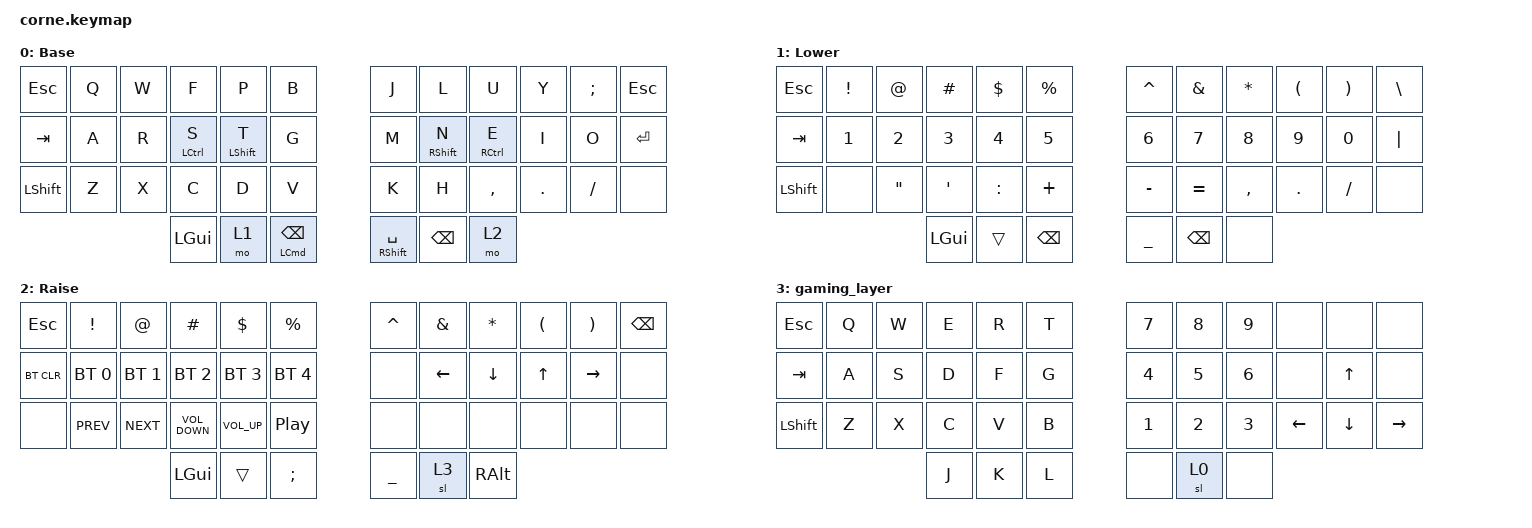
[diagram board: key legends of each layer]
/*
 * Copyright (c) 2020 The ZMK Contributors
 *
 * SPDX-License-Identifier: MIT
 */

#include <behaviors.dtsi>
#include <dt-bindings/zmk/bt.h>
#include <dt-bindings/zmk/keys.h>

&mt { flavor = "tap-preferred"; };

/ {
    combos {
        compatible = "zmk,combos";

        rp {
            bindings = <&kp RIGHT_PARENTHESIS>;
            key-positions = <19 31>;
        };

        lp {
            bindings = <&kp LEFT_PARENTHESIS>;
            key-positions = <16 28>;
        };

        lb {
            bindings = <&kp LEFT_BRACKET>;
            key-positions = <17 29>;
        };

        rb {
            bindings = <&kp RIGHT_BRACKET>;
            key-positions = <18 30>;
        };

        undo {
            bindings = <&kp LC(Z)>;
            key-positions = <25 26>;
        };

        cut {
            bindings = <&kp LC(X)>;
            key-positions = <25 27>;
        };

        copy {
            bindings = <&kp LC(C)>;
            key-positions = <25 28>;
        };

        paste {
            bindings = <&kp LC(V)>;
            key-positions = <25 29>;
        };

        enter {
            bindings = <&kp ENTER>;
            key-positions = <19 20 21>;
        };

        left_reset {
            bindings = <&sys_reset>;
            key-positions = <0 1 36>;
        };

        right_reset {
            bindings = <&sys_reset>;
            key-positions = <11 10 41>;
        };

        left_curly_brace {
            bindings = <&kp LBRC>;
            key-positions = <15 27>;
        };

        right_curly_brace {
            bindings = <&kp RIGHT_BRACE>;
            key-positions = <20 32>;
        };
    };

    keymap {
        compatible = "zmk,keymap";

        default_layer {
            // -----------------------------------------------------------------------------------------
            // |  TAB |  Q  |  W  |  E  |  R  |  T  |   |  Y  |  U   |  I  |  O  |  P  | BKSP |
            // | CTRL |  A  |  S  |  D  |  F  |  G  |   |  H  |  J   |  K  |  L  |  ;  |  '   |
            // | SHFT |  Z  |  X  |  C  |  V  |  B  |   |  N  |  M   |  ,  |  .  |  /  | ESC  |
            //                    | GUI | LWR | SPC |   | ENT | RSE  | ALT |

            display-name = "Base";
            bindings = <
&kp ESCAPE  &kp Q  &kp W  &kp F               &kp P             &kp B                         &kp J                  &kp L              &kp U                &kp Y    &kp SEMICOLON  &kp ESCAPE
&kp TAB     &kp A  &kp R  &mt LEFT_CONTROL S  &mt LEFT_SHIFT T  &kp G                         &kp M                  &mt RIGHT_SHIFT N  &mt RIGHT_CONTROL E  &kp I    &kp O          &kp RET
&kp LSHFT   &kp Z  &kp X  &kp C               &kp D             &kp V                         &kp K                  &kp H              &kp COMMA            &kp DOT  &kp FSLH       &none
                          &kp LGUI            &mo 1             &mt LEFT_COMMAND BACKSPACE    &mt RIGHT_SHIFT SPACE  &kp BACKSPACE      &mo 2
            >;
        };

        lower_layer {
            // -----------------------------------------------------------------------------------------
            // |  TAB |  1  |  2  |  3  |  4  |  5  |   |  6  |  7  |  8  |  9  |  0  | BKSP |
            // | BTCLR| BT1 | BT2 | BT3 | BT4 | BT5 |   | LFT | DWN |  UP | RGT |     |      |
            // | SHFT |     |     |     |     |     |   |     |     |     |     |     |      |
            //                    | GUI |     | SPC |   | ENT |     | ALT |

            display-name = "Lower";
            bindings = <
&kp ESCAPE      &kp EXCL      &kp AT             &kp HASH      &kp DOLLAR    &kp PERCENT      &kp CARET     &kp AMPS       &kp ASTRK  &kp LEFT_PARENTHESIS  &kp RIGHT_PARENTHESIS  &kp BACKSLASH
&kp TAB         &kp NUMBER_1  &kp NUMBER_2       &kp NUMBER_3  &kp NUMBER_4  &kp N5           &kp NUMBER_6  &kp N7         &kp N8     &kp N9                &kp N0                 &kp PIPE
&kp LEFT_SHIFT  &none         &kp DOUBLE_QUOTES  &kp APOS      &kp COLON     &kp PLUS         &kp MINUS     &kp EQUAL      &kp COMMA  &kp PERIOD            &kp SLASH              &none
                                                 &kp LGUI      &trans        &kp BACKSPACE    &kp UNDER     &kp BACKSPACE  &none
            >;
        };

        upper_layer {
            display-name = "Raise";
            bindings = <
&kp ESCAPE  &kp EXCL      &kp AT        &kp POUND          &kp DOLLAR       &kp PERCENT         &kp CARET       &kp AMPS  &kp ASTRK  &kp LEFT_PARENTHESIS  &kp RIGHT_PARENTHESIS  &kp BSPC
&bt BT_CLR  &bt BT_SEL 0  &bt BT_SEL 1  &bt BT_SEL 2       &bt BT_SEL 3     &bt BT_SEL 4        &none           &kp LEFT  &kp DOWN   &kp UP_ARROW          &kp RIGHT              &none
&none       &kp K_PREV    &kp C_NEXT    &kp C_VOLUME_DOWN  &kp C_VOLUME_UP  &kp C_PLAY_PAUSE    &none           &none     &none      &none                 &none                  &none
                                        &kp LGUI           &trans           &kp SEMI            &kp UNDERSCORE  &sl 3     &kp RALT
            >;
        };

        gaming_layer {
            bindings = <
&kp ESC         &kp Q  &kp W  &kp E  &kp R  &kp T    &kp N7        &kp N8        &kp N9        &none           &none         &none
&kp TAB         &kp A  &kp S  &kp D  &kp F  &kp G    &kp NUMBER_4  &kp N5        &kp NUMBER_6  &none           &kp UP_ARROW  &none
&kp LEFT_SHIFT  &kp Z  &kp X  &kp C  &kp V  &kp B    &kp NUMBER_1  &kp NUMBER_2  &kp NUMBER_3  &kp LEFT_ARROW  &kp DOWN      &kp RIGHT
                              &kp J  &kp K  &kp L    &none         &sl 0         &none
            >;
        };
    };
};
